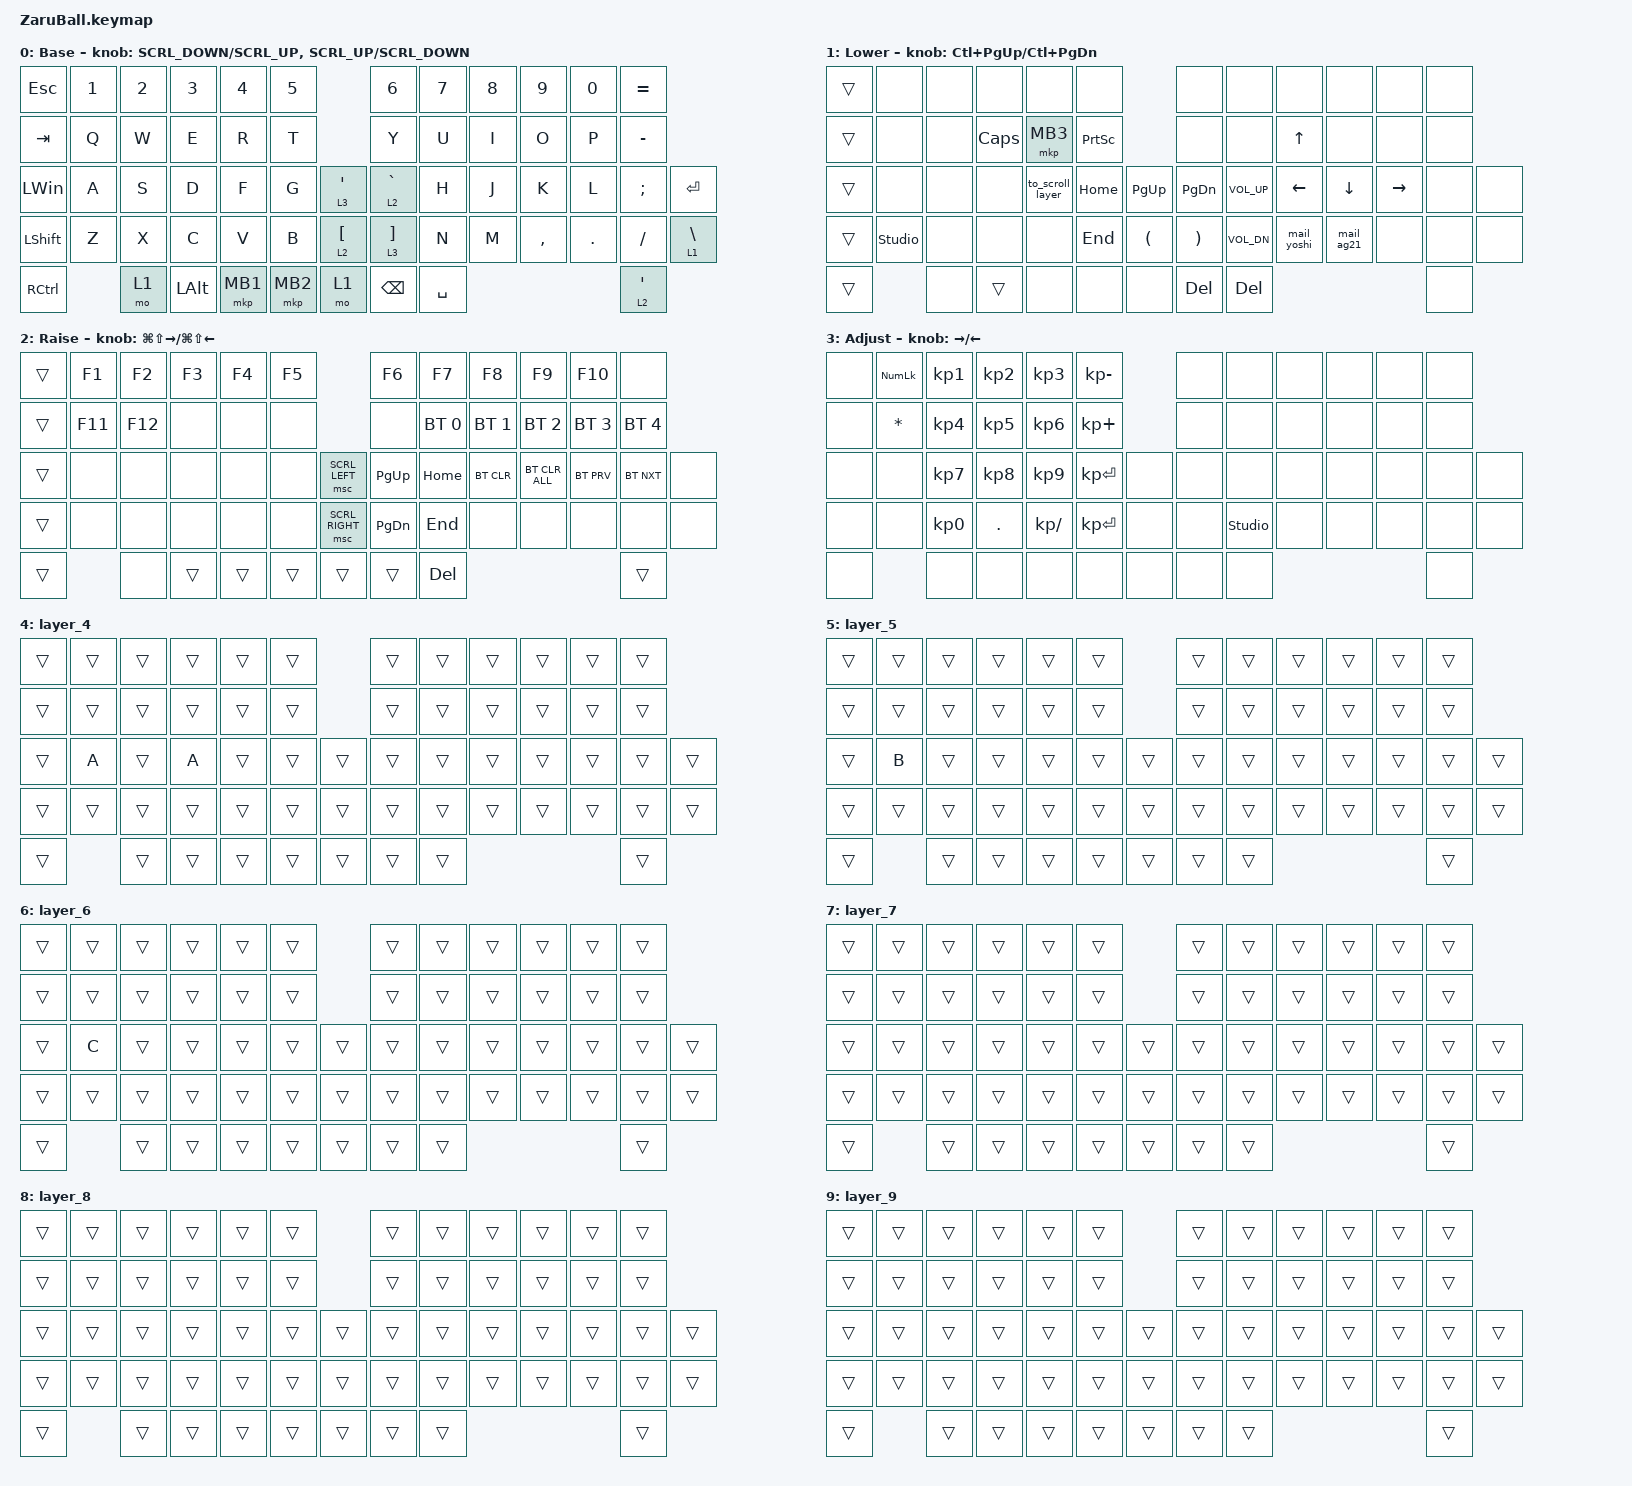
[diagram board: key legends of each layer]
//#include <dt-bindings/zmk/mouse.h>

#include <behaviors/rgbled_widget.dtsi>
#include <behaviors.dtsi>
#include <dt-bindings/zmk/bt.h>
#include <dt-bindings/zmk/keys.h>

#define ZMK_POINTING_DEFAULT_MOVE_VAL 800
#define ZMK_POINTING_DEFAULT_SCRL_VAL 120
#include <dt-bindings/zmk/pointing.h>

#define BASE 0
#define LOWER 1
#define RAISE 2
#define ADJUST 3
#define MOUSE 4
#define SCROLL 1

&mmv {
    delay-ms = <0>;
    trigger-period-ms = <10>;
    time-to-max-speed-ms = <0>;
    acceleration-exponent = <1>;
};

&msc {
    delay-ms = <0>;
    trigger-period-ms = <10>;
    time-to-max-speed-ms = <0>;
    acceleration-exponent = <0>;
};



/ {
    conditional_layers { compatible = "zmk,conditional-layers"; };
};

/ {
    behaviors {
        
        td0: tap_dance_0 {
            compatible = "zmk,behavior-tap-dance";
            #binding-cells = <0>;
            tapping-term-ms = <200>;
            bindings = <&mt LALT LANG2>, <&mo 2>, <&mo 0>;
        };

        td1: tap_dance_1 {
            compatible = "zmk,behavior-tap-dance";
            #binding-cells = <0>;
            tapping-term-ms = <200>;
            bindings = <&mt RCTL LANG1>, <&mo 2>, <&mo 0>;
        };
        rot_kp: sensor_rotate_kp {
            compatible = "zmk,behavior-sensor-rotate-var";
            #sensor-binding-cells = <2>;
            bindings = <&kp>, <&kp>;
        };
        mouse_click: mouse_button_kp {
            compatible = "zmk,behavior-sensor-rotate-var";
            #sensor-binding-cells = <2>;
            bindings = <&mkp>, <&mkp>;
        };

        mouse_mv: mouse_cursor_move {
            compatible = "zmk,behavior-sensor-rotate-var";
            #sensor-binding-cells = <2>;
            bindings = <&mmv>, <&mmv>;
            tap-ms = <10>;
        };
        mouse_scrl: mouse_wheel_scrl {
            compatible = "zmk,behavior-sensor-rotate-var";
            #sensor-binding-cells = <2>;
            bindings = <&msc>, <&msc>;
            tap-ms = <10>;
        };
    };
};

&sl { release-after-ms = <250>; }; // time needed for double click (for mkp_exit_AML)
/ {
    macros {
        // When in AML, move to default layer when key (except mouse button) pressed

        to_layer_0: to_layer_0 {
            compatible = "zmk,behavior-macro-one-param";
            #binding-cells = <1>;
            bindings = <&to 0 &macro_param_1to1 &kp MACRO_PLACEHOLDER>;
            label = "TO_layer_0";
        };

        // When LCLK pressed, exit AML (after 250ms cause by sticky layer)

        mkp_exit_AML: mkp_exit_AML {
            compatible = "zmk,behavior-macro-one-param";
            #binding-cells = <1>;
            bindings =
                <&macro_press>,
                <&macro_param_1to1 &mkp MACRO_PLACEHOLDER>,
                <&macro_pause_for_release>,
                <&macro_release>,
                <&macro_param_1to1 &mkp MACRO_PLACEHOLDER>,
                <&macro_tap>,
                <&sl 0>;

            label = "MKP_EXIT_AML";
        };

        // Support swapping into Scroll layer when AML is activated

        to_scroll_layer: to_scroll_layer {
            compatible = "zmk,behavior-macro";
            #binding-cells = <0>;
            bindings =
                <&to 1>,
                <&macro_press>,
                <&mo 1>,
                <&macro_pause_for_release>,
                <&macro_release>,
                <&mo 1>;
        };

        mail_yoshi: mail {
            compatible = "zmk,behavior-macro";
            #binding-cells = <0>;
            bindings = <&none &kp Y &kp O &kp S &kp H &kp I &kp T &kp A &kp K &kp A &kp T &kp A &kp K &kp A &kp N0 &kp N9 &kp AT &kp G &kp M &kp A &kp I &kp L &kp DOT &kp C &kp O &kp M>;
            label = "MAIL";
        };

        mail_ag21: mail_ag21 {
            compatible = "zmk,behavior-macro";
            #binding-cells = <0>;
            bindings = <&none &kp A &kp G &kp N2 &kp N1 &kp N0 &kp N8 &kp N3 &kp AT &kp S &kp I &kp C &kp DOT &kp S &kp H &kp I &kp B &kp A &kp U &kp R &kp A &kp MINUS &kp I &kp T &kp DOT &kp A &kp C &kp DOT &kp J &kp P>;
            label = "MAIL_AG21";
        };
    };
};

/ {
    keymap {
        compatible = "zmk,keymap";

        base_layer {
            display-name = "Base";
            sensor-bindings = <&mouse_scrl SCRL_DOWN SCRL_UP>, <&mouse_scrl SCRL_UP SCRL_DOWN>;
            bindings = <
&kp ESC       &kp N1  &kp N2  &kp N3        &kp N4    &kp N5                        &kp NUMBER_6         &kp N7     &kp N8  &kp N9     &kp N0   &kp EQUAL
&kp TAB       &kp Q   &kp W   &kp E         &kp R     &kp T                         &kp Y                &kp U      &kp I   &kp O      &kp P    &kp MINUS
&kp LEFT_WIN  &kp A   &kp S   &kp D         &kp F     &kp G     &lt 3 SQT           &lt 2 GRAVE          &kp H      &kp J   &kp K      &kp L    &kp SEMI   &kp ENTER
&kp LSHFT     &kp Z   &kp X   &kp C         &kp V     &kp B     &lt 2 LEFT_BRACKET  &lt 3 RIGHT_BRACKET  &kp N      &kp M   &kp COMMA  &kp DOT  &kp FSLH   &lt 1 BACKSLASH
&kp RCTRL             &mo 1   &kp LEFT_ALT  &mkp MB1  &mkp MB2  &mo 1               &kp BACKSPACE        &kp SPACE                              &lt 2 SQT
            >;
        };

        lower_layer {
            display-name = "Lower";
            sensor-bindings = <&inc_dec_kp LC(PAGE_UP) LC(PAGE_DOWN)>;
            bindings = <
&trans  &none           &none  &none         &none             &none                                  &none          &none         &none         &none           &none      &none
&trans  &none           &none  &kp CAPSLOCK  &mkp MB3          &kp PRINTSCREEN                        &none          &none         &kp UP_ARROW  &none           &none      &none
&trans  &none           &none  &none         &to_scroll_layer  &kp HOME         &kp PG_UP             &kp PAGE_DOWN  &kp C_VOL_UP  &kp LEFT      &kp DOWN_ARROW  &kp RIGHT  &none  &none
&trans  &studio_unlock  &none  &none         &none             &kp END          &kp LEFT_PARENTHESIS  &kp RPAR       &kp C_VOL_DN  &mail_yoshi   &mail_ag21      &none      &none  &none
&trans                  &none  &trans        &none             &none            &none                 &kp DEL        &kp DEL                                                &none
            >;
        };

        raise_layer {
            display-name = "Raise";
            sensor-bindings = <&inc_dec_kp LG(LS(RIGHT)) LG(LS(LEFT))>;
            bindings = <
&trans  &kp F1   &kp F2   &kp F3  &kp F4  &kp F5                   &kp F6     &kp F7        &kp F8        &kp F9          &kp F10       &none
&trans  &kp F11  &kp F12  &none   &none   &none                    &none      &bt BT_SEL 0  &bt BT_SEL 1  &bt BT_SEL 2    &bt BT_SEL 3  &bt BT_SEL 4
&trans  &none    &none    &none   &none   &none   &msc SCRL_LEFT   &kp PG_UP  &kp HOME      &bt BT_CLR    &bt BT_CLR_ALL  &bt BT_PRV    &bt BT_NXT    &none
&trans  &none    &none    &none   &none   &none   &msc SCRL_RIGHT  &kp PG_DN  &kp END       &none         &none           &none         &none         &none
&trans           &none    &trans  &trans  &trans  &trans           &trans     &kp DEL                                                   &trans
            >;
        };

        adjust_layer {
            display-name = "Adjust";
            sensor-bindings = <&inc_dec_kp RIGHT LEFT>;
            bindings = <
&none  &kp KP_NUMLOCK  &kp KP_N1  &kp KP_N2  &kp KP_N3     &kp KP_MINUS         &none  &none           &none  &none  &none  &none
&none  &kp ASTERISK    &kp KP_N4  &kp KP_N5  &kp KP_N6     &kp KP_PLUS          &none  &none           &none  &none  &none  &none
&none  &none           &kp KP_N7  &kp KP_N8  &kp KP_N9     &kp KP_ENTER  &none  &none  &none           &none  &none  &none  &none  &none
&none  &none           &kp KP_N0  &kp DOT    &kp KP_SLASH  &kp KP_ENTER  &none  &none  &studio_unlock  &none  &none  &none  &none  &none
&none                  &none      &none      &none         &none         &none  &none  &none                                &none
            >;
        };

        // Extra layer can be added in ZMK STUDIO

        layer_4 {
            bindings = <
&trans  &trans  &trans  &trans  &trans  &trans          &trans  &trans  &trans  &trans  &trans  &trans
&trans  &trans  &trans  &trans  &trans  &trans          &trans  &trans  &trans  &trans  &trans  &trans
&trans  &kp A   &trans  &kp A   &trans  &trans  &trans  &trans  &trans  &trans  &trans  &trans  &trans  &trans
&trans  &trans  &trans  &trans  &trans  &trans  &trans  &trans  &trans  &trans  &trans  &trans  &trans  &trans
&trans          &trans  &trans  &trans  &trans  &trans  &trans  &trans                          &trans
            >;
        };

        layer_5 {
            bindings = <
&trans  &trans  &trans  &trans  &trans  &trans          &trans  &trans  &trans  &trans  &trans  &trans
&trans  &trans  &trans  &trans  &trans  &trans          &trans  &trans  &trans  &trans  &trans  &trans
&trans  &kp B   &trans  &trans  &trans  &trans  &trans  &trans  &trans  &trans  &trans  &trans  &trans  &trans
&trans  &trans  &trans  &trans  &trans  &trans  &trans  &trans  &trans  &trans  &trans  &trans  &trans  &trans
&trans          &trans  &trans  &trans  &trans  &trans  &trans  &trans                          &trans
            >;
        };

        layer_6 {
            bindings = <
&trans  &trans  &trans  &trans  &trans  &trans          &trans  &trans  &trans  &trans  &trans  &trans
&trans  &trans  &trans  &trans  &trans  &trans          &trans  &trans  &trans  &trans  &trans  &trans
&trans  &kp C   &trans  &trans  &trans  &trans  &trans  &trans  &trans  &trans  &trans  &trans  &trans  &trans
&trans  &trans  &trans  &trans  &trans  &trans  &trans  &trans  &trans  &trans  &trans  &trans  &trans  &trans
&trans          &trans  &trans  &trans  &trans  &trans  &trans  &trans                          &trans
            >;
        };

        layer_7 {
            bindings = <
&trans  &trans  &trans  &trans  &trans  &trans          &trans  &trans  &trans  &trans  &trans  &trans
&trans  &trans  &trans  &trans  &trans  &trans          &trans  &trans  &trans  &trans  &trans  &trans
&trans  &trans  &trans  &trans  &trans  &trans  &trans  &trans  &trans  &trans  &trans  &trans  &trans  &trans
&trans  &trans  &trans  &trans  &trans  &trans  &trans  &trans  &trans  &trans  &trans  &trans  &trans  &trans
&trans          &trans  &trans  &trans  &trans  &trans  &trans  &trans                          &trans
            >;
        };

        layer_8 {
            bindings = <
&trans  &trans  &trans  &trans  &trans  &trans          &trans  &trans  &trans  &trans  &trans  &trans
&trans  &trans  &trans  &trans  &trans  &trans          &trans  &trans  &trans  &trans  &trans  &trans
&trans  &trans  &trans  &trans  &trans  &trans  &trans  &trans  &trans  &trans  &trans  &trans  &trans  &trans
&trans  &trans  &trans  &trans  &trans  &trans  &trans  &trans  &trans  &trans  &trans  &trans  &trans  &trans
&trans          &trans  &trans  &trans  &trans  &trans  &trans  &trans                          &trans
            >;
        };

        layer_9 {
            bindings = <
&trans  &trans  &trans  &trans  &trans  &trans          &trans  &trans  &trans  &trans  &trans  &trans
&trans  &trans  &trans  &trans  &trans  &trans          &trans  &trans  &trans  &trans  &trans  &trans
&trans  &trans  &trans  &trans  &trans  &trans  &trans  &trans  &trans  &trans  &trans  &trans  &trans  &trans
&trans  &trans  &trans  &trans  &trans  &trans  &trans  &trans  &trans  &trans  &trans  &trans  &trans  &trans
&trans          &trans  &trans  &trans  &trans  &trans  &trans  &trans                          &trans
            >;
        };
    };
};
